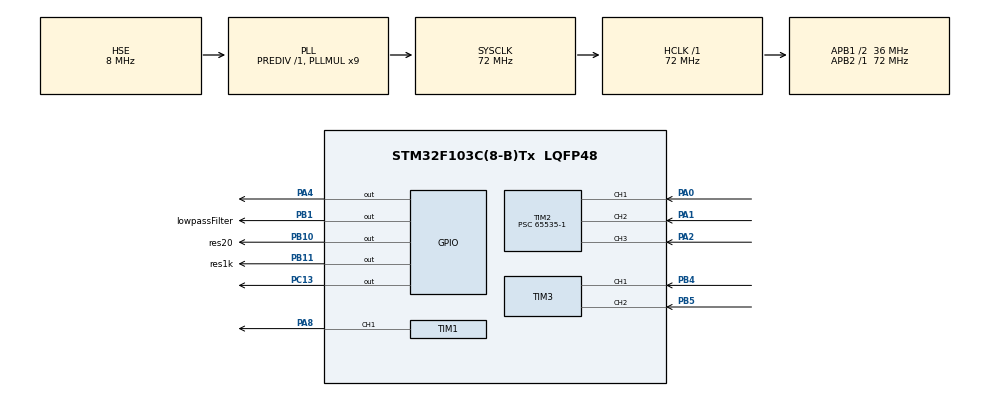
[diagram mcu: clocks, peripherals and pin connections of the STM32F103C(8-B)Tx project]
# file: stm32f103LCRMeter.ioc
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Dma.Request0=TIM1_CH1
Dma.TIM1_CH1.0.Direction=DMA_MEMORY_TO_PERIPH
Dma.TIM1_CH1.0.Instance=DMA1_Channel2
Dma.TIM1_CH1.0.MemDataAlignment=DMA_MDATAALIGN_BYTE
Dma.TIM1_CH1.0.MemInc=DMA_MINC_ENABLE
Dma.TIM1_CH1.0.Mode=DMA_CIRCULAR
Dma.TIM1_CH1.0.PeriphDataAlignment=DMA_PDATAALIGN_HALFWORD
Dma.TIM1_CH1.0.PeriphInc=DMA_PINC_DISABLE
Dma.TIM1_CH1.0.Priority=DMA_PRIORITY_LOW
Mcu.Family=STM32F1
Mcu.Name=STM32F103C(8-B)Tx
Mcu.Package=LQFP48
NVIC.DMA1_Channel2_IRQn=true\:0\:0\:false\:false\:true\:false\:true\:true
NVIC.PriorityGroup=NVIC_PRIORITYGROUP_4
PA0-WKUP.Signal=S_TIM2_CH1_ETR
PA1.Signal=S_TIM2_CH2
PA2.Signal=S_TIM2_CH3
PA4.Signal=GPIO_Output
PA8.Signal=S_TIM1_CH1
PB1.GPIO_Label=lowpassFilter
PB1.Signal=GPIO_Output
PB10.GPIO_Label=res20
PB10.Signal=GPIO_Output
PB11.GPIO_Label=res1k
PB11.Signal=GPIO_Output
PB4.Signal=S_TIM3_CH1
PB5.Signal=S_TIM3_CH2
PC13-TAMPER-RTC.Signal=GPIO_Output
PC14-OSC32_IN.Mode=LSE-External-Oscillator
PC14-OSC32_IN.Signal=RCC_OSC32_IN
PC15-OSC32_OUT.Mode=LSE-External-Oscillator
PC15-OSC32_OUT.Signal=RCC_OSC32_OUT
PD0-OSC_IN.Mode=HSE-External-Oscillator
PD0-OSC_IN.Signal=RCC_OSC_IN
PD1-OSC_OUT.Mode=HSE-External-Oscillator
PD1-OSC_OUT.Signal=RCC_OSC_OUT
ProjectManager.HeapSize=0x200
ProjectManager.StackSize=0x400
ProjectManager.TargetToolchain=STM32CubeIDE
RCC.AHBFreq_Value=72000000
RCC.APB1CLKDivider=RCC_HCLK_DIV2
RCC.APB1Freq_Value=36000000
RCC.APB1TimFreq_Value=72000000
RCC.APB2Freq_Value=72000000
RCC.APB2TimFreq_Value=72000000
RCC.HCLKFreq_Value=72000000
RCC.PLLMUL=RCC_PLL_MUL9
RCC.PLLSourceVirtual=RCC_PLLSOURCE_HSE
RCC.SYSCLKFreq_VALUE=72000000
RCC.SYSCLKSource=RCC_SYSCLKSOURCE_PLLCLK
RCC.USBFreq_Value=72000000
SH.S_TIM1_CH1.0=TIM1_CH1,PWM Generation1 CH1
SH.S_TIM2_CH1_ETR.0=TIM2_CH1,TriggerSource_TI1ED
SH.S_TIM2_CH2.0=TIM2_CH2,Input_Capture2_from_TI2
SH.S_TIM2_CH3.0=TIM2_CH3,Input_Capture3_from_TI3
SH.S_TIM3_CH1.0=TIM3_CH1,Input_Capture1_from_TI1
SH.S_TIM3_CH1.1=TIM3_CH1,TriggerSource_TI1ED
SH.S_TIM3_CH2.0=TIM3_CH2,Input_Capture2_from_TI2
TIM1.Channel-PWM\ Generation1\ CH1=TIM_CHANNEL_1
TIM1.OCMode_PWM-PWM\ Generation1\ CH1=TIM_OCMODE_PWM2
TIM2.Channel-Input_Capture2_from_TI2=TIM_CHANNEL_2
TIM2.Channel-Input_Capture3_from_TI3=TIM_CHANNEL_3
TIM2.ICFilter_CH2=8
TIM2.ICFilter_CH3=8
TIM2.Prescaler=65535-1
TIM2.Slave_TriggerFilter=8
TIM3.Channel-Input_Capture1_from_TI1=TIM_CHANNEL_1
TIM3.Channel-Input_Capture2_from_TI2=TIM_CHANNEL_2
TIM3.ICFilter_CH1=8
TIM3.ICFilter_CH2=8
TIM3.TIM_MasterOutputTrigger=TIM_TRGO_OC1REF
TIM3.TIM_MasterSlaveMode=TIM_MASTERSLAVEMODE_DISABLE
TIM4.Channel-Output\ Compare1\ No\ Output=TIM_CHANNEL_1
TIM4.Prescaler=72-1
VP_TIM1_VS_ClockSourceINT.Mode=Internal
VP_TIM2_VS_ClockSourceINT.Mode=Internal
VP_TIM2_VS_ControllerModeReset.Mode=Reset Mode
VP_TIM2_VS_XOR.Mode=XOR_enable
VP_TIM3_VS_ClockSourceINT.Mode=Internal
VP_TIM3_VS_ControllerModeReset.Mode=Reset Mode
VP_TIM3_VS_XOR.Mode=XOR_enable
VP_TIM4_VS_ClockSourceINT.Mode=Internal
VP_TIM4_VS_no_output1.Mode=Output Compare1 No Output
board=custom

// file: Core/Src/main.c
/* USER CODE BEGIN Header */
/**
  ******************************************************************************
  * @file           : main.c
  * @brief          : Main program body
  ******************************************************************************
  * @attention
  *
  * Copyright (c) 2023 STMicroelectronics.
  * All rights reserved.
  *
  * This software is licensed under terms that can be found in the LICENSE file
  * in the root directory of this software component.
  * If no LICENSE file comes with this software, it is provided AS-IS.
  *
  ******************************************************************************
  */
/* USER CODE END Header */
#include "main.h"
#include "dma.h"
#include "tim.h"
#include "gpio.h"

/* USER CODE BEGIN Includes */
#include "stdio.h"
#include "string.h"
#include "math.h"
#include "LCRFunctions.h"
/* USER CODE END Includes */

void SystemClock_Config(void);

/* USER CODE BEGIN 0 */
uint8_t sineWaveArray[sineWaveArray_len];
/* USER CODE END 0 */

int main(void)
{
  /* USER CODE BEGIN 1 */

  //amplitudeCorrection to set the amplitude to within 200mV pk-pk, value reduces dutycycle width to lower amplitude
  sineWaveSettings Hz50; Hz50.frequency = 50; Hz50.amplitudeCorrection = 0.267857143, Hz50.lowpassFilter = 1;
  sineWaveSettings Hz1000; Hz1000.frequency = 1000; Hz1000.amplitudeCorrection = 0.240384615,Hz1000.lowpassFilter = 1;
  sineWaveSettings Hz10000; Hz10000.frequency = 10000; Hz10000.amplitudeCorrection = 0.319672131,Hz10000.lowpassFilter = 0;
  sineWaveSettings Hz50000; Hz50000.frequency = 50000; Hz50000.amplitudeCorrection = 0.339673913,Hz50000.lowpassFilter = 0;
  sineWaveSettings Hz100000; Hz100000.frequency = 100000; Hz100000.amplitudeCorrection = 1.0, Hz100000.lowpassFilter = 0;

  measureSettings measureSettings;
  /* USER CODE END 1 */

  /* MCU Configuration--------------------------------------------------------*/

  /* Reset of all peripherals, Initializes the Flash interface and the Systick. */
  HAL_Init();

  /* Configure the system clock */
  SystemClock_Config();

  /* Initialize all configured peripherals */
  MX_GPIO_Init();
  MX_DMA_Init();
  MX_TIM1_Init();
  MX_TIM2_Init();
  MX_TIM3_Init();
  MX_TIM4_Init();
  /* USER CODE BEGIN 2 */
  timerSettings();
  /* USER CODE END 2 */

  /* Infinite loop */
  /* USER CODE BEGIN WHILE */

  const uint16_t sampleN = 10;
  uint32_t average[sampleN];
  measureSettings.r20Active = 0;

  while (1)
  {
    for(uint8_t i = 0; i < resultSize; i ++){ //null all samples

      measureSettings.reactance[i] = 0;
      measureSettings.Farad_HenryResult[i] = 0;
      measureSettings.Farad_HenryResultR20[i]= 0;
      measureSettings.esrResult[i] = 0;
    }

    for(uint8_t k = 0; k < 2; k++){

      for(uint8_t j = 0; j < 5; j ++){ //simple states to iterate through frequencies

        if(j==0){
          createSineWave(&Hz50, sineWaveArray_len);
          measureSettings.frequency = Hz50.frequency;
        }
        if(j==1){
          createSineWave(&Hz1000,sineWaveArray_len);
          measureSettings.frequency = Hz1000.frequency;
        }
        if(j==2){
          createSineWave(&Hz10000,sineWaveArray_len);
          measureSettings.frequency = Hz10000.frequency;
        }
        if(j==3){
          createSineWave(&Hz50000,sineWaveArray_len);
          measureSettings.frequency = Hz50000.frequency;
        }
        if(j==4){
          createSineWave(&Hz100000,sineWaveArray_len);
          measureSettings.frequency = Hz100000.frequency;
        }

        if(measureSettings.r20Active){

          HAL_GPIO_WritePin(res20_GPIO_Port, res20_Pin, 1);

          HAL_GPIO_WritePin(res1k_GPIO_Port, res1k_Pin, 0);
          measureSettings.measureResistance = 20.54;
        }else{

          HAL_GPIO_WritePin(res20_GPIO_Port, res20_Pin, 0);

          HAL_GPIO_WritePin(res1k_GPIO_Port, res1k_Pin, 1);
          measureSettings.measureResistance = 1000;
        }

        HAL_Delay(500);
        measureSettings.currentLeading = currentLeading();

        measureLCR(average, sampleN,50);

        measureSettings.sample[j] = filterList(0.3, average, sampleN);
        measureSettings.resultIndex = j;
        calculateLCR(&measureSettings);
      }
      measureSettings.r20Active = !(measureSettings.r20Active);
    }
  }
    /* USER CODE END WHILE */

}

void SystemClock_Config(void)
{
  RCC_OscInitTypeDef RCC_OscInitStruct = {0};
  RCC_ClkInitTypeDef RCC_ClkInitStruct = {0};

  /** Initializes the RCC Oscillators according to the specified parameters
  * in the RCC_OscInitTypeDef structure.
  */
  RCC_OscInitStruct.OscillatorType = RCC_OSCILLATORTYPE_HSE;
  RCC_OscInitStruct.HSEState = RCC_HSE_ON;
  RCC_OscInitStruct.HSEPredivValue = RCC_HSE_PREDIV_DIV1;
  RCC_OscInitStruct.HSIState = RCC_HSI_ON;
  RCC_OscInitStruct.PLL.PLLState = RCC_PLL_ON;
  RCC_OscInitStruct.PLL.PLLSource = RCC_PLLSOURCE_HSE;
  RCC_OscInitStruct.PLL.PLLMUL = RCC_PLL_MUL9;
  if (HAL_RCC_OscConfig(&RCC_OscInitStruct) != HAL_OK)
  {
    Error_Handler();
  }

  /** Initializes the CPU, AHB and APB buses clocks
  */
  RCC_ClkInitStruct.ClockType = RCC_CLOCKTYPE_HCLK|RCC_CLOCKTYPE_SYSCLK
                              |RCC_CLOCKTYPE_PCLK1|RCC_CLOCKTYPE_PCLK2;
  RCC_ClkInitStruct.SYSCLKSource = RCC_SYSCLKSOURCE_PLLCLK;
  RCC_ClkInitStruct.AHBCLKDivider = RCC_SYSCLK_DIV1;
  RCC_ClkInitStruct.APB1CLKDivider = RCC_HCLK_DIV2;
  RCC_ClkInitStruct.APB2CLKDivider = RCC_HCLK_DIV1;

  if (HAL_RCC_ClockConfig(&RCC_ClkInitStruct, FLASH_LATENCY_2) != HAL_OK)
  {
    Error_Handler();
  }
}

void Error_Handler(void)
{
  __disable_irq();
  while (1)
  {
  }
}
